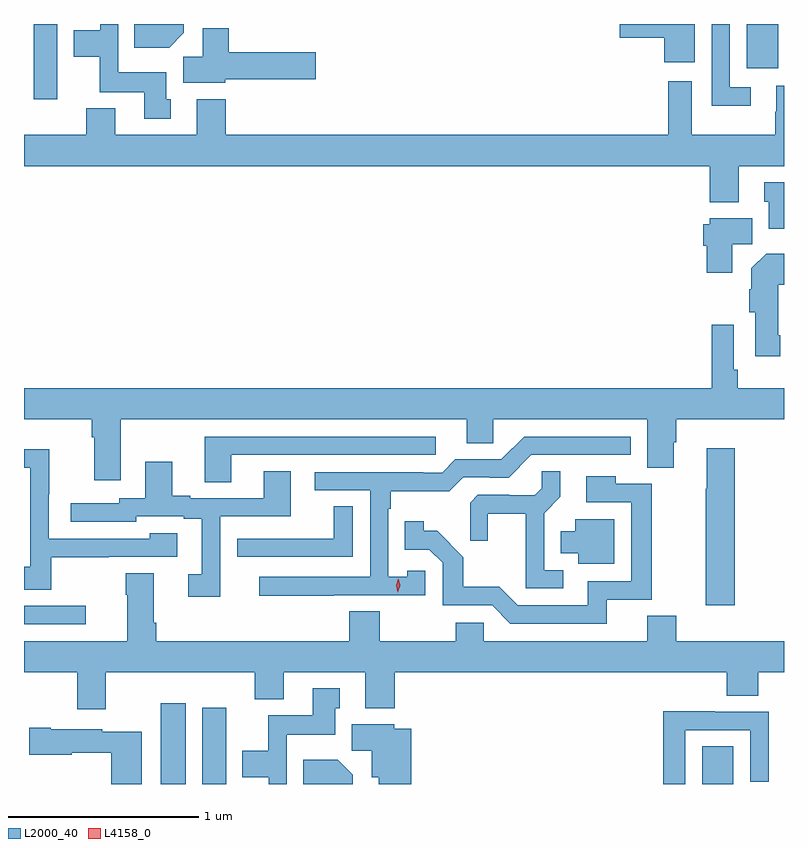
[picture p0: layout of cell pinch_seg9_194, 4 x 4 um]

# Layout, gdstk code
import gdstk
lib = gdstk.Library(unit=1e-6, precision=1e-09)
def R(c, l, rs):  # rectangles x0, y0, x1, y1
    for r in rs: c.add(gdstk.rectangle(r[:2], r[2:], *l))
def P(c, l, *ps):  # polygons
    for p in ps: c.add(gdstk.Polygon(p, *l))
L2000_40 = (2000, 40)
L4158_0 = (4158, 0)

pinch_seg9_194 = lib.new_cell('pinch_seg9_194')
R(pinch_seg9_194, L2000_40, [(529.22,1229.132,529.351,1229.557), (529.439,1229.132,529.564,1229.533), (532.07,1229.132,532.234,1229.33), (528.5,1229.973,528.826,1230.069), (528.551,1232.736,528.676,1233.132), (532.304,1232.898,532.471,1233.132)])
P(pinch_seg9_194, L2000_40, [(532.03,1233.132),(531.636,1233.132),(531.636,1233.059),(531.869,1233.059),(531.869,1232.931),(532.03,1232.931)],
  [(529.273,1232.736),(529.249,1232.736),(529.249,1232.878),(528.996,1232.878),(528.996,1233.132),(528.9,1233.132),(528.9,1233.1),(528.761,1233.1),(528.761,1232.96),(528.898,1232.96),(528.898,1232.774),(529.133,1232.774),(529.133,1232.634),(529.273,1232.634)],
  [(529.342,1233.086),(529.342,1233.132),(529.081,1233.132),(529.081,1233.008),(529.264,1233.008)],
  [(532.324,1232.799),(532.215,1232.799),(532.215,1233.132),(532.119,1233.132),(532.119,1232.702),(532.324,1232.702)],
  [(529.56,1232.842),(530.035,1232.842),(530.035,1232.984),(529.577,1232.984),(529.577,1233.109),(529.442,1233.109),(529.442,1232.96),(529.337,1232.96),(529.337,1232.822),(529.56,1232.822)],
  [(532.261,1232.384),(532.5,1232.384),(532.5,1232.806),(532.46,1232.806),(532.46,1232.669),(532.453,1232.669),(532.453,1232.548),(532.015,1232.548),(532.015,1232.83),(531.89,1232.83),(531.89,1232.548),(529.562,1232.548),(529.562,1232.737),(529.409,1232.737),(529.409,1232.548),(528.979,1232.548),(528.979,1232.689),(528.827,1232.689),(528.827,1232.548),(528.5,1232.548),(528.5,1232.384),(532.109,1232.384),(532.109,1232.195),(532.261,1232.195)],
  [(532.5,1232.299),(532.397,1232.299),(532.397,1232.196),(532.421,1232.196),(532.421,1232.054),(532.5,1232.054)],
  [(532.228,1231.972),(532.333,1231.972),(532.333,1232.11),(532.11,1232.11),(532.11,1232.079),(532.076,1232.079),(532.076,1231.965),(532.094,1231.965),(532.094,1231.824),(532.228,1231.824)],
  [(532.479,1231.495),(532.471,1231.495),(532.471,1231.76),(532.5,1231.76),(532.5,1231.924),(532.406,1231.924),(532.328,1231.846),(532.328,1231.736),(532.316,1231.736),(532.316,1231.614),(532.349,1231.614),(532.349,1231.383),(532.479,1231.383)],
  [(528.5,1231.052),(528.857,1231.052),(528.857,1230.956),(528.869,1230.956),(528.869,1230.732),(529.009,1230.732),(529.009,1231.052),(530.831,1231.052),(530.831,1230.925),(530.97,1230.925),(530.97,1231.052),(531.779,1231.052),(531.779,1230.796),(531.919,1230.796),(531.919,1230.93),(531.932,1230.93),(531.932,1231.052),(532.5,1231.052),(532.5,1231.216),(532.256,1231.216),(532.256,1231.312),(532.236,1231.312),(532.236,1231.549),(532.12,1231.549),(532.12,1231.216),(528.5,1231.216)],
  [(530.129,1230.126),(530.613,1230.126),(530.613,1230.255),(530.517,1230.255),(530.517,1230.223),(530.418,1230.223),(530.418,1230.581),(530.431,1230.581),(530.431,1230.674),(530.738,1230.674),(530.811,1230.747),(530.95,1230.747),(530.95,1230.744),(531.051,1230.744),(531.171,1230.864),(531.694,1230.864),(531.694,1230.96),(531.132,1230.96),(531.012,1230.84),(530.769,1230.84),(530.7,1230.771),(530.6,1230.771),(530.6,1230.774),(530.031,1230.774),(530.031,1230.678),(530.322,1230.678),(530.322,1230.222),(529.737,1230.222),(529.737,1230.124),(530.129,1230.124)],
  [(529.591,1230.864),(530.668,1230.864),(530.668,1230.96),(529.451,1230.96),(529.451,1230.721),(529.591,1230.721)],
  [(532.241,1230.898),(532.094,1230.898),(532.094,1230.685),(532.087,1230.685),(532.087,1230.072),(532.241,1230.072)],
  [(528.643,1230.325),(528.947,1230.325),(528.947,1230.327),(529.306,1230.327),(529.306,1230.451),(529.161,1230.451),(529.161,1230.423),(528.63,1230.423),(528.63,1230.656),(528.633,1230.656),(528.633,1230.895),(528.5,1230.895),(528.5,1230.797),(528.534,1230.797),(528.534,1230.276),(528.5,1230.276),(528.5,1230.154),(528.643,1230.154)],
  [(529.533,1230.54),(529.903,1230.54),(529.903,1230.779),(529.763,1230.779),(529.763,1230.636),(529.375,1230.636),(529.375,1230.649),(529.279,1230.649),(529.279,1230.829),(529.139,1230.829),(529.139,1230.636),(529.002,1230.636),(529.002,1230.609),(528.747,1230.609),(528.747,1230.513),(529.092,1230.513),(529.092,1230.54),(529.34,1230.54),(529.34,1230.528),(529.436,1230.528),(529.436,1230.237),(529.365,1230.237),(529.365,1230.117),(529.533,1230.117)],
  [(531.337,1230.258),(531.237,1230.258),(531.237,1230.557),(531.323,1230.643),(531.323,1230.779),(531.225,1230.779),(531.225,1230.688),(531.188,1230.651),(531.054,1230.651),(531.054,1230.654),(530.889,1230.654),(530.848,1230.613),(530.848,1230.411),(530.942,1230.411),(530.942,1230.554),(531.14,1230.554),(531.14,1230.162),(531.337,1230.162)],
  [(531.566,1230.102),(531.805,1230.102),(531.805,1230.711),(531.615,1230.711),(531.615,1230.751),(531.459,1230.751),(531.459,1230.615),(531.696,1230.615),(531.696,1230.198),(531.467,1230.198),(531.467,1230.072),(531.099,1230.072),(531.001,1230.171),(530.812,1230.171),(530.812,1230.326),(530.674,1230.464),(530.604,1230.464),(530.604,1230.514),(530.503,1230.514),(530.503,1230.366),(530.634,1230.366),(530.703,1230.297),(530.703,1230.072),(530.964,1230.072),(531.06,1229.976),(531.566,1229.976)],
  [(530.229,1230.593),(530.131,1230.593),(530.131,1230.423),(529.735,1230.423),(529.735,1230.422),(529.623,1230.422),(529.623,1230.327),(530.229,1230.327)],
  [(531.607,1230.526),(531.401,1230.526),(531.401,1230.463),(531.326,1230.463),(531.326,1230.347),(531.416,1230.347),(531.416,1230.29),(531.607,1230.29)],
  [(531.932,1230.017),(531.779,1230.017),(531.779,1229.884),(530.919,1229.884),(530.919,1229.982),(530.773,1229.982),(530.773,1229.884),(530.373,1229.884),(530.373,1230.041),(530.213,1230.041),(530.213,1229.884),(529.196,1229.884),(529.196,1229.98),(529.183,1229.98),(529.183,1230.241),(529.036,1230.241),(529.036,1230.128),(529.043,1230.128),(529.043,1229.884),(528.5,1229.884),(528.5,1229.72),(528.779,1229.72),(528.779,1229.526),(528.931,1229.526),(528.931,1229.72),(529.715,1229.72),(529.715,1229.579),(529.867,1229.579),(529.867,1229.72),(530.297,1229.72),(530.297,1229.531),(530.45,1229.531),(530.45,1229.72),(532.199,1229.72),(532.199,1229.596),(532.364,1229.596),(532.364,1229.72),(532.5,1229.72),(532.5,1229.884),(531.932,1229.884)],
  [(529.884,1229.39),(530.137,1229.39),(530.137,1229.532),(530.161,1229.532),(530.161,1229.635),(530.021,1229.635),(530.021,1229.494),(529.786,1229.494),(529.786,1229.308),(529.649,1229.308),(529.649,1229.168),(529.788,1229.168),(529.788,1229.132),(529.884,1229.132)],
  [(531.981,1229.415),(532.323,1229.415),(532.323,1229.145),(532.419,1229.145),(532.419,1229.511),(532.135,1229.511),(532.135,1229.515),(531.865,1229.515),(531.865,1229.132),(531.981,1229.132)],
  [(530.537,1229.422),(530.448,1229.422),(530.448,1229.446),(530.225,1229.446),(530.225,1229.308),(530.33,1229.308),(530.33,1229.168),(530.366,1229.168),(530.366,1229.132),(530.537,1229.132)],
  [(529.12,1229.407),(528.912,1229.407),(528.912,1229.419),(528.64,1229.419),(528.64,1229.427),(528.528,1229.427),(528.528,1229.285),(528.75,1229.285),(528.75,1229.297),(528.958,1229.297),(528.958,1229.132),(529.12,1229.132)],
  [(530.23,1229.182),(530.152,1229.26),(529.969,1229.26),(529.969,1229.132),(530.23,1229.132)])
P(pinch_seg9_194, L4158_0, [(530.468,1230.141),(530.468,1230.141),(530.459,1230.177),(530.469,1230.213),(530.469,1230.213),(530.469,1230.213),(530.479,1230.177),(530.468,1230.141)])

lib.write_gds('pinch_seg9_194.gds')
